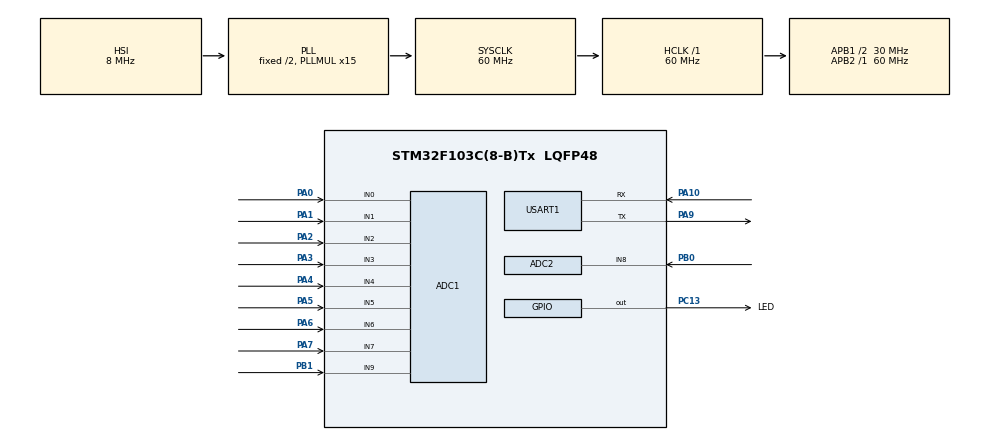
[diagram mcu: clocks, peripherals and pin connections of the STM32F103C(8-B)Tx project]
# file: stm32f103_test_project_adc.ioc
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ADC1.Channel-22\#ChannelRegularConversion=ADC_CHANNEL_0
ADC1.Channel-23\#ChannelRegularConversion=ADC_CHANNEL_1
ADC1.Channel-24\#ChannelRegularConversion=ADC_CHANNEL_2
ADC1.Channel-25\#ChannelRegularConversion=ADC_CHANNEL_3
ADC1.Channel-26\#ChannelRegularConversion=ADC_CHANNEL_4
ADC1.Channel-27\#ChannelRegularConversion=ADC_CHANNEL_5
ADC1.Channel-28\#ChannelRegularConversion=ADC_CHANNEL_6
ADC1.Channel-29\#ChannelRegularConversion=ADC_CHANNEL_7
ADC1.Channel-30\#ChannelRegularConversion=ADC_CHANNEL_9
ADC1.Channel-31\#ChannelRegularConversion=ADC_CHANNEL_9
ADC1.Channel-32\#ChannelRegularConversion=ADC_CHANNEL_9
ADC1.ContinuousConvMode=ENABLE
ADC1.DiscontinuousConvMode=DISABLE
ADC1.EnableInjectedConversion=DISABLE
ADC1.EnableRegularConversion=ENABLE
ADC1.ExternalTrigConv=ADC_SOFTWARE_START
ADC1.InjNumberOfConversion=3
ADC1.NbrOfConversion=11
ADC1.NbrOfConversionFlag=1
ADC1.Rank-22\#ChannelRegularConversion=1
ADC1.Rank-23\#ChannelRegularConversion=2
ADC1.Rank-24\#ChannelRegularConversion=3
ADC1.Rank-25\#ChannelRegularConversion=4
ADC1.Rank-26\#ChannelRegularConversion=5
ADC1.Rank-27\#ChannelRegularConversion=6
ADC1.Rank-28\#ChannelRegularConversion=7
ADC1.Rank-29\#ChannelRegularConversion=8
ADC1.Rank-30\#ChannelRegularConversion=9
ADC1.Rank-31\#ChannelRegularConversion=10
ADC1.Rank-32\#ChannelRegularConversion=11
ADC1.SamplingTime-22\#ChannelRegularConversion=ADC_SAMPLETIME_239CYCLES_5
ADC1.SamplingTime-23\#ChannelRegularConversion=ADC_SAMPLETIME_239CYCLES_5
ADC1.SamplingTime-24\#ChannelRegularConversion=ADC_SAMPLETIME_239CYCLES_5
ADC1.SamplingTime-25\#ChannelRegularConversion=ADC_SAMPLETIME_239CYCLES_5
ADC1.SamplingTime-26\#ChannelRegularConversion=ADC_SAMPLETIME_239CYCLES_5
ADC1.SamplingTime-27\#ChannelRegularConversion=ADC_SAMPLETIME_239CYCLES_5
ADC1.SamplingTime-28\#ChannelRegularConversion=ADC_SAMPLETIME_239CYCLES_5
ADC1.SamplingTime-29\#ChannelRegularConversion=ADC_SAMPLETIME_239CYCLES_5
ADC1.SamplingTime-30\#ChannelRegularConversion=ADC_SAMPLETIME_239CYCLES_5
ADC1.SamplingTime-31\#ChannelRegularConversion=ADC_SAMPLETIME_239CYCLES_5
ADC1.SamplingTime-32\#ChannelRegularConversion=ADC_SAMPLETIME_239CYCLES_5
ADC1.master=1
ADC2.Channel-0\#ChannelRegularConversion=ADC_CHANNEL_6
ADC2.Channel-1\#ChannelRegularConversion=ADC_CHANNEL_8
ADC2.Channel-2\#ChannelRegularConversion=ADC_CHANNEL_6
ADC2.ContinuousConvMode=ENABLE
ADC2.NbrOfConversion=3
ADC2.NbrOfConversionFlag=1
ADC2.Rank-0\#ChannelRegularConversion=1
ADC2.Rank-1\#ChannelRegularConversion=2
ADC2.Rank-2\#ChannelRegularConversion=3
ADC2.SamplingTime-0\#ChannelRegularConversion=ADC_SAMPLETIME_239CYCLES_5
ADC2.SamplingTime-1\#ChannelRegularConversion=ADC_SAMPLETIME_239CYCLES_5
ADC2.SamplingTime-2\#ChannelRegularConversion=ADC_SAMPLETIME_239CYCLES_5
Mcu.Family=STM32F1
Mcu.Name=STM32F103C(8-B)Tx
Mcu.Package=LQFP48
NVIC.ADC1_2_IRQn=true\:0\:0\:false\:false\:true\:true\:true
NVIC.PriorityGroup=NVIC_PRIORITYGROUP_4
PA0-WKUP.Signal=ADCx_IN0
PA1.Signal=ADCx_IN1
PA10.Mode=Asynchronous
PA10.Signal=USART1_RX
PA13.Mode=Serial_Wire
PA13.Signal=SYS_JTMS-SWDIO
PA14.Mode=Serial_Wire
PA14.Signal=SYS_JTCK-SWCLK
PA2.Signal=ADCx_IN2
PA3.Signal=ADCx_IN3
PA4.Signal=ADCx_IN4
PA5.Signal=ADCx_IN5
PA6.Signal=ADCx_IN6
PA7.Signal=ADCx_IN7
PA9.Mode=Asynchronous
PA9.Signal=USART1_TX
PB0.Signal=ADCx_IN8
PB1.Signal=ADCx_IN9
PC13-TAMPER-RTC.GPIO_Label=LED
PC13-TAMPER-RTC.Signal=GPIO_Output
ProjectManager.HeapSize=0x200
ProjectManager.StackSize=0x400
ProjectManager.TargetToolchain=STM32CubeIDE
RCC.ADCPresc=RCC_ADCPCLK2_DIV6
RCC.AHBFreq_Value=60000000
RCC.APB1CLKDivider=RCC_HCLK_DIV2
RCC.APB1Freq_Value=30000000
RCC.APB1TimFreq_Value=60000000
RCC.APB2Freq_Value=60000000
RCC.APB2TimFreq_Value=60000000
RCC.HCLKFreq_Value=60000000
RCC.PLLMUL=RCC_PLL_MUL15
RCC.SYSCLKFreq_VALUE=60000000
RCC.SYSCLKSource=RCC_SYSCLKSOURCE_PLLCLK
RCC.USBFreq_Value=60000000
SH.ADCx_IN0.0=ADC1_IN0,IN0
SH.ADCx_IN1.0=ADC1_IN1,IN1
SH.ADCx_IN2.0=ADC1_IN2,IN2
SH.ADCx_IN3.0=ADC1_IN3,IN3
SH.ADCx_IN4.0=ADC1_IN4,IN4
SH.ADCx_IN5.0=ADC1_IN5,IN5
SH.ADCx_IN6.0=ADC1_IN6,IN6
SH.ADCx_IN6.1=ADC2_IN6,IN6
SH.ADCx_IN7.0=ADC1_IN7,IN7
SH.ADCx_IN8.0=ADC2_IN8,IN8
SH.ADCx_IN9.0=ADC1_IN9,IN9
USART1.VirtualMode=VM_ASYNC
board=custom

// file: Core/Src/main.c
/* USER CODE BEGIN Header */
/**
  ******************************************************************************
  * @file           : main.c
  * @brief          : Main program body
  ******************************************************************************
  * @attention
  *
  * <h2><center>&copy; Copyright (c) 2021 STMicroelectronics.
  * All rights reserved.</center></h2>
  *
  * This software component is licensed by ST under BSD 3-Clause license,
  * the "License"; You may not use this file except in compliance with the
  * License. You may obtain a copy of the License at:
  *                        opensource.org/licenses/BSD-3-Clause
  *
  ******************************************************************************
  */
/* USER CODE END Header */
#include "main.h"
#include "adc.h"
#include "usart.h"
#include "gpio.h"

/* USER CODE BEGIN Includes */

#include "stdio.h"

/* USER CODE END Includes */

void SystemClock_Config(void);
/* USER CODE BEGIN PFP */
void read_adc();
void move_numbers(uint32_t *numbers, uint8_t mode);
/* USER CODE END PFP */

/* USER CODE BEGIN 0 */

uint32_t final_buffer[11] = {0};

uint8_t adc_ready = 0;
void HAL_ADC_ConvCpltCallback(ADC_HandleTypeDef* hadc)
{
	adc_ready = 1;
}

/* USER CODE END 0 */

int main(void)
{

  /* MCU Configuration--------------------------------------------------------*/

  /* Reset of all peripherals, Initializes the Flash interface and the Systick. */
  HAL_Init();

  /* Configure the system clock */
  SystemClock_Config();

  /* Initialize all configured peripherals */
  MX_GPIO_Init();
  MX_ADC1_Init();
  MX_USART1_UART_Init();
  MX_ADC2_Init();
  /* USER CODE BEGIN 2 */

  HAL_ADCEx_Calibration_Start(&hadc1);
  HAL_ADCEx_Calibration_Start(&hadc2);
  HAL_Delay(100);

  HAL_UART_Transmit(&huart1, (uint8_t*) "Hello", 6, 150);

  /* USER CODE END 2 */

  /* Infinite loop */
  while (1)
  {

    /* USER CODE BEGIN 3 */

	  read_adc();

	  HAL_GPIO_TogglePin(LED_GPIO_Port, LED_Pin);

	  static uint32_t last_update = 0;
	  if(HAL_GetTick() >= last_update + 100){
		  for(uint8_t i = 0; i < 10; i++)
		  {
			  uint8_t str[20];
			  sprintf((char*) str, "ADC%d: %d\t", i, (uint8_t*) final_buffer[i]);
			  HAL_UART_Transmit(&huart1, str, 20, 100);
			  for(int index = 0; index < 20; index++){ str[index] = 0;}
		  }
		  HAL_UART_Transmit(&huart1, (uint8_t*) "\n", 2, 100);
		  last_update = HAL_GetTick();
	  }

	  HAL_Delay(100);
  }
  /* USER CODE END 3 */
}

void SystemClock_Config(void)
{
  RCC_OscInitTypeDef RCC_OscInitStruct = {0};
  RCC_ClkInitTypeDef RCC_ClkInitStruct = {0};
  RCC_PeriphCLKInitTypeDef PeriphClkInit = {0};

  /** Initializes the RCC Oscillators according to the specified parameters
  * in the RCC_OscInitTypeDef structure.
  */
  RCC_OscInitStruct.OscillatorType = RCC_OSCILLATORTYPE_HSI;
  RCC_OscInitStruct.HSIState = RCC_HSI_ON;
  RCC_OscInitStruct.HSICalibrationValue = RCC_HSICALIBRATION_DEFAULT;
  RCC_OscInitStruct.PLL.PLLState = RCC_PLL_ON;
  RCC_OscInitStruct.PLL.PLLSource = RCC_PLLSOURCE_HSI_DIV2;
  RCC_OscInitStruct.PLL.PLLMUL = RCC_PLL_MUL15;
  if (HAL_RCC_OscConfig(&RCC_OscInitStruct) != HAL_OK)
  {
    Error_Handler();
  }
  /** Initializes the CPU, AHB and APB buses clocks
  */
  RCC_ClkInitStruct.ClockType = RCC_CLOCKTYPE_HCLK|RCC_CLOCKTYPE_SYSCLK
                              |RCC_CLOCKTYPE_PCLK1|RCC_CLOCKTYPE_PCLK2;
  RCC_ClkInitStruct.SYSCLKSource = RCC_SYSCLKSOURCE_PLLCLK;
  RCC_ClkInitStruct.AHBCLKDivider = RCC_SYSCLK_DIV1;
  RCC_ClkInitStruct.APB1CLKDivider = RCC_HCLK_DIV2;
  RCC_ClkInitStruct.APB2CLKDivider = RCC_HCLK_DIV1;

  if (HAL_RCC_ClockConfig(&RCC_ClkInitStruct, FLASH_LATENCY_2) != HAL_OK)
  {
    Error_Handler();
  }
  PeriphClkInit.PeriphClockSelection = RCC_PERIPHCLK_ADC;
  PeriphClkInit.AdcClockSelection = RCC_ADCPCLK2_DIV6;
  if (HAL_RCCEx_PeriphCLKConfig(&PeriphClkInit) != HAL_OK)
  {
    Error_Handler();
  }
}

/* USER CODE BEGIN 4 */

void read_adc(){

	uint32_t adc_1_values[11];
	uint32_t adc_2_values[4] = {0};

	for(uint8_t mode = 0; mode < 2; mode++){
	  adc_ready = 0;
	  if(mode == 0) HAL_ADC_Start_IT(&hadc1);
	  else 			HAL_ADC_Start_IT(&hadc2);

	  if(mode == 0){
		  for(uint8_t i = 0; i < 11; i++)
		  {
			HAL_ADC_PollForConversion(&hadc1, 100);
			adc_1_values[i] = HAL_ADC_GetValue(&hadc1);

			asm("NOP");
		  }
	  }
	  else {
		for(uint8_t i = 0; i < 4; i++){
			HAL_ADC_PollForConversion(&hadc2, 100);
			adc_2_values[i] = HAL_ADC_GetValue(&hadc2);
		}
	  }

	  // Wait until ADC convert is competed
	  while(!adc_ready){
		  int z = 0;
		  z = z+1;
	  }

	  // Finally stop ADC convert as it's ready
	  if(mode == 0){
		  HAL_ADC_Stop(&hadc1);
		  move_numbers(&adc_1_values[0], mode);
	  }
	  else{
		  HAL_ADC_Stop(&hadc2);
		  move_numbers(&adc_2_values[0], mode);
	  }
	}
}

void move_numbers(uint32_t *numbers, uint8_t mode){

	if(mode == 0){
		final_buffer[0] = numbers[6];
		final_buffer[1] = numbers[3];
		final_buffer[2] = numbers[0];
		final_buffer[3] = numbers[10];
		final_buffer[4] = numbers[4];
		final_buffer[5] = numbers[1];
		final_buffer[7] = numbers[8];
		final_buffer[9] = numbers[2];
	}
	else{
		final_buffer[6] = numbers[0];
		final_buffer[8] = numbers[1];
	}
//	*numbers = &buffer[0];
}

/* USER CODE END 4 */

void Error_Handler(void)
{
  __disable_irq();
  while (1)
  {
  }
}

/************************ (C) COPYRIGHT STMicroelectronics *****END OF FILE****/
